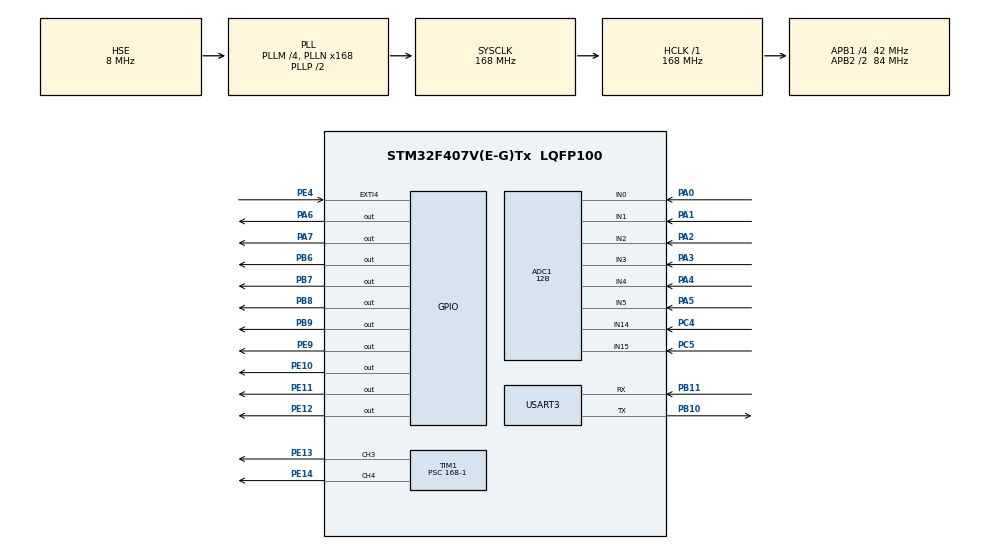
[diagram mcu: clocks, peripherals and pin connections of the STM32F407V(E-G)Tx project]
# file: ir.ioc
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ADC1.Channel-0\#ChannelRegularConversion=ADC_CHANNEL_0
ADC1.Channel-1\#ChannelRegularConversion=ADC_CHANNEL_1
ADC1.Channel-2\#ChannelRegularConversion=ADC_CHANNEL_2
ADC1.Channel-3\#ChannelRegularConversion=ADC_CHANNEL_3
ADC1.Channel-4\#ChannelRegularConversion=ADC_CHANNEL_4
ADC1.Channel-5\#ChannelRegularConversion=ADC_CHANNEL_5
ADC1.Channel-6\#ChannelRegularConversion=ADC_CHANNEL_14
ADC1.Channel-7\#ChannelRegularConversion=ADC_CHANNEL_15
ADC1.ContinuousConvMode=ENABLE
ADC1.DMAContinuousRequests=ENABLE
ADC1.EnableAnalogWatchDog=false
ADC1.InjNumberOfConversion=0
ADC1.NbrOfConversion=8
ADC1.NbrOfConversionFlag=1
ADC1.Rank-0\#ChannelRegularConversion=1
ADC1.Rank-1\#ChannelRegularConversion=2
ADC1.Rank-2\#ChannelRegularConversion=3
ADC1.Rank-3\#ChannelRegularConversion=4
ADC1.Rank-4\#ChannelRegularConversion=5
ADC1.Rank-5\#ChannelRegularConversion=6
ADC1.Rank-6\#ChannelRegularConversion=7
ADC1.Rank-7\#ChannelRegularConversion=8
ADC1.Resolution=ADC_RESOLUTION_12B
ADC1.SamplingTime-0\#ChannelRegularConversion=ADC_SAMPLETIME_84CYCLES
ADC1.SamplingTime-1\#ChannelRegularConversion=ADC_SAMPLETIME_84CYCLES
ADC1.SamplingTime-2\#ChannelRegularConversion=ADC_SAMPLETIME_84CYCLES
ADC1.SamplingTime-3\#ChannelRegularConversion=ADC_SAMPLETIME_84CYCLES
ADC1.SamplingTime-4\#ChannelRegularConversion=ADC_SAMPLETIME_84CYCLES
ADC1.SamplingTime-5\#ChannelRegularConversion=ADC_SAMPLETIME_84CYCLES
ADC1.SamplingTime-6\#ChannelRegularConversion=ADC_SAMPLETIME_84CYCLES
ADC1.SamplingTime-7\#ChannelRegularConversion=ADC_SAMPLETIME_84CYCLES
ADC1.master=1
Dma.ADC1.0.Direction=DMA_PERIPH_TO_MEMORY
Dma.ADC1.0.FIFOMode=DMA_FIFOMODE_DISABLE
Dma.ADC1.0.Instance=DMA2_Stream4
Dma.ADC1.0.MemDataAlignment=DMA_MDATAALIGN_HALFWORD
Dma.ADC1.0.MemInc=DMA_MINC_ENABLE
Dma.ADC1.0.Mode=DMA_CIRCULAR
Dma.ADC1.0.PeriphDataAlignment=DMA_PDATAALIGN_HALFWORD
Dma.ADC1.0.PeriphInc=DMA_PINC_DISABLE
Dma.ADC1.0.Priority=DMA_PRIORITY_LOW
Dma.Request0=ADC1
Mcu.Family=STM32F4
Mcu.Name=STM32F407V(E-G)Tx
Mcu.Package=LQFP100
NVIC.ADC_IRQn=true\:0\:0\:false\:false\:true\:true\:true
NVIC.DMA2_Stream4_IRQn=true\:0\:0\:false\:false\:true\:false\:true
NVIC.EXTI4_IRQn=true\:0\:0\:false\:false\:true\:true\:true
NVIC.PriorityGroup=NVIC_PRIORITYGROUP_4
NVIC.USART3_IRQn=true\:0\:0\:false\:false\:true\:true\:true
PA0-WKUP.Signal=ADCx_IN0
PA1.Signal=ADCx_IN1
PA2.Signal=ADCx_IN2
PA3.Signal=ADCx_IN3
PA4.Signal=ADCx_IN4
PA5.Signal=ADCx_IN5
PA6.Signal=GPIO_Output
PA7.Signal=GPIO_Output
PB10.Mode=Asynchronous
PB10.Signal=USART3_TX
PB11.Mode=Asynchronous
PB11.Signal=USART3_RX
PB6.Signal=GPIO_Output
PB7.Signal=GPIO_Output
PB8.Signal=GPIO_Output
PB9.Signal=GPIO_Output
PC4.Signal=ADCx_IN14
PC5.Signal=ADCx_IN15
PE10.Signal=GPIO_Output
PE11.Signal=GPIO_Output
PE12.Signal=GPIO_Output
PE13.Signal=S_TIM1_CH3
PE14.Signal=S_TIM1_CH4
PE4.Signal=GPXTI4
PE9.Signal=GPIO_Output
PH0-OSC_IN.Mode=HSE-External-Oscillator
PH0-OSC_IN.Signal=RCC_OSC_IN
PH1-OSC_OUT.Mode=HSE-External-Oscillator
PH1-OSC_OUT.Signal=RCC_OSC_OUT
ProjectManager.HeapSize=0x200
ProjectManager.StackSize=0x400
ProjectManager.TargetToolchain=STM32CubeIDE
RCC.48MHZClocksFreq_Value=84000000
RCC.AHBFreq_Value=168000000
RCC.APB1CLKDivider=RCC_HCLK_DIV4
RCC.APB1Freq_Value=42000000
RCC.APB1TimFreq_Value=84000000
RCC.APB2CLKDivider=RCC_HCLK_DIV2
RCC.APB2Freq_Value=84000000
RCC.APB2TimFreq_Value=168000000
RCC.CortexFreq_Value=168000000
RCC.HCLKFreq_Value=168000000
RCC.HSE_VALUE=8000000
RCC.HSI_VALUE=16000000
RCC.LSE_VALUE=32768
RCC.PLLM=4
RCC.PLLN=168
RCC.PLLSourceVirtual=RCC_PLLSOURCE_HSE
RCC.SYSCLKFreq_VALUE=168000000
RCC.SYSCLKSource=RCC_SYSCLKSOURCE_PLLCLK
RCC.VCOOutputFreq_Value=336000000
SH.ADCx_IN0.0=ADC1_IN0,IN0
SH.ADCx_IN1.0=ADC1_IN1,IN1
SH.ADCx_IN14.0=ADC1_IN14,IN14
SH.ADCx_IN15.0=ADC1_IN15,IN15
SH.ADCx_IN2.0=ADC1_IN2,IN2
SH.ADCx_IN3.0=ADC1_IN3,IN3
SH.ADCx_IN4.0=ADC1_IN4,IN4
SH.ADCx_IN5.0=ADC1_IN5,IN5
SH.S_TIM1_CH3.0=TIM1_CH3,PWM Generation3 CH3
SH.S_TIM1_CH4.0=TIM1_CH4,PWM Generation4 CH4
TIM1.Channel-PWM\ Generation3\ CH3=TIM_CHANNEL_3
TIM1.Channel-PWM\ Generation4\ CH4=TIM_CHANNEL_4
TIM1.OCFastMode_PWM-PWM\ Generation3\ CH3=TIM_OCFAST_ENABLE
TIM1.OCFastMode_PWM-PWM\ Generation4\ CH4=TIM_OCFAST_ENABLE
TIM1.Period=10000-1
TIM1.Prescaler=168-1
USART3.VirtualMode=VM_ASYNC
VP_TIM1_VS_ClockSourceINT.Mode=Internal
board=custom

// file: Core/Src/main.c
/* USER CODE BEGIN Header */
/**
  ******************************************************************************
  * @file           : main.c
  * @brief          : Main program body
  ******************************************************************************
  * @attention
  *
  * <h2><center>&copy; Copyright (c) 2021 STMicroelectronics.
  * All rights reserved.</center></h2>
  *
  * This software component is licensed by ST under BSD 3-Clause license,
  * the "License"; You may not use this file except in compliance with the
  * License. You may obtain a copy of the License at:
  *                        opensource.org/licenses/BSD-3-Clause
  *
  ******************************************************************************
  */
/* USER CODE END Header */
#include "main.h"
#include "adc.h"
#include "dma.h"
#include "tim.h"
#include "usart.h"
#include "gpio.h"

/* USER CODE BEGIN Includes */
#include <stdio.h>
/* USER CODE END Includes */

void SystemClock_Config(void);
/* USER CODE BEGIN PFP */
int _write(int file, char* p, int len)
{
	HAL_UART_Transmit(&huart3, p, len, 10);
	return len;
}
/* USER CODE END PFP */

/* USER CODE BEGIN 0 */
#define ADC1_SIZE 8
#define POS_SIZE 8
#define CLEAN_SIZE 10
#define ZERO_SIZE 10

#define vINIT 1000

#define WEIGHT4 350
#define WEIGHT3 250
#define WEIGHT2 150
#define WEIGHT1 50

#define kP1 6
#define kP2 kP1*1.7
#define kI 0
#define kD 5

int INDEX=0;
int reading[CLEAN_SIZE];

uint8_t Position;

uint16_t ADC1Result[ADC1_SIZE-1];
uint16_t ADC1Max[ADC1_SIZE-1];
uint16_t ADC1cMax[ADC1_SIZE-1];

uint16_t ADC1Min[ADC1_SIZE-1];
uint16_t ADC1cMin[ADC1_SIZE-1];

uint16_t ADC1Current[ADC1_SIZE-1];
uint16_t ADC1Norm[ADC1_SIZE-1];

double avg, sum;
int CleanUp(double val, int tries){
	while(tries){
		sum = sum - reading[INDEX];
		reading[INDEX] = val;
		sum = sum + val;
		INDEX = (INDEX+1) % CLEAN_SIZE;

		avg = sum / CLEAN_SIZE;
		tries--;
	}
	return avg;

}
uint32_t pressed=0;
void HAL_GPIO_EXTI_Callback(uint16_t GPIO_Pin){	// K0 Button Active Low (psh 0)
	pressed = !pressed;
	HAL_GPIO_WritePin(GPIOA, GPIO_PIN_6, pressed);
}

/* USER CODE END 0 */

int main(void)
{

  /* MCU Configuration--------------------------------------------------------*/

  /* Reset of all peripherals, Initializes the Flash interface and the Systick. */
  HAL_Init();

  /* Configure the system clock */
  SystemClock_Config();

  /* Initialize all configured peripherals */
  MX_GPIO_Init();
  MX_DMA_Init();
  MX_ADC1_Init();
  MX_TIM1_Init();
  MX_USART3_UART_Init();
  /* USER CODE BEGIN 2 */

  //HAL_ADC_Init(&hadc1);
  HAL_TIM_PWM_Init(&htim1);
  HAL_TIM_PWM_Start(&htim1, TIM_CHANNEL_3);
  HAL_TIM_PWM_Start(&htim1, TIM_CHANNEL_4);

  HAL_GPIO_WritePin(GPIOE, GPIO_PIN_9, GPIO_PIN_RESET);  HAL_GPIO_WritePin(GPIOE, GPIO_PIN_10, GPIO_PIN_SET);
  HAL_GPIO_WritePin(GPIOE, GPIO_PIN_11, GPIO_PIN_RESET); HAL_GPIO_WritePin(GPIOE, GPIO_PIN_12, GPIO_PIN_SET);

  HAL_ADC_Start_DMA(&hadc1, &ADC1Result[0], 8);
  for(int i=0;i<8;i++){ADC1Min[i] = 4095;}

  int32_t Err; 			// Current Error
  int32_t pErr;			// Previous Error
  int32_t ErrDif;		// Error Difference

  int32_t dV1;
  int32_t dV2;
  int32_t weight, wsum;
  int32_t vRight, vLeft;

  uint32_t cTime;
  uint32_t pTime;
  /* USER CODE END 2 */

  /* Infinite loop */
  /* USER CODE BEGIN WHILE */
  while (1){
	for(int i=0;i<8;i++){
		if(ADC1Result[i] >= ADC1Max[i]) ADC1Max[i] = ADC1Result[i];
		if(ADC1Result[i] <= ADC1Min[i] && ADC1Result[i] > 100) ADC1Min[i] = ADC1Result[i];

		ADC1Current[i] = ((ADC1Result[i]-ADC1Min[i]) * 100)/(ADC1Max[i] - ADC1Min[i]); ADC1Norm[i] = ADC1Current[i];
	}

	cTime = HAL_GetTick();
	double delay_Time = (double)(cTime - pTime);

	weight = (ADC1Norm[0]-ADC1Norm[7])*WEIGHT4 + (ADC1Norm[1]-ADC1Norm[6])*WEIGHT3 + (ADC1Norm[2]-ADC1Norm[5])*WEIGHT2 + (ADC1Norm[3]-ADC1Norm[4])*WEIGHT1;
	wsum = (ADC1Norm[0]+ADC1Norm[1]+ADC1Norm[2]+ADC1Norm[3]+ADC1Norm[4]+ADC1Norm[5]+ADC1Norm[6]+ADC1Norm[7]);

	if((ADC1Norm[3]+ADC1Norm[4]) <= 8) // Middle Point
		HAL_GPIO_WritePin(GPIOA, GPIO_PIN_7, 0);
	else
		HAL_GPIO_WritePin(GPIOA, GPIO_PIN_7, 1);

	if(weight<0) Err = -(int)(- weight / wsum);
	else Err =  (int)(weight / wsum);

	ErrDif = (Err - pErr);
	dV1 = kP1 * Err + (kD / delay_Time) * ErrDif ;
	dV2 = kP2 * Err + (kD / delay_Time) * ErrDif ;

	int crMax = 13; // Cross Line Maximum Value
	if(wsum <= crMax*8)
	{
		dV1 = 0; dV2 = 0;
		printf("Cross Line!");
	}

	// if pressed==false, it can not drive out
	vRight = pressed&(vINIT - CleanUp(dV2, CLEAN_SIZE));
	vLeft  = pressed&(vINIT + CleanUp(dV1, CLEAN_SIZE));

	TIM1->CCR3 = vLeft;  // A
	TIM1->CCR4 = vRight; // B

	 	 	 	 	 	 	 	 	 	 	 	 	 	 	 	 	 	 	 	  printf("\n  ");
	 	 	 	 	 	 	 	 	 	 	 	 	 	 	 	 	 	 	 	  pErr = Err;
	 	 	 	 	 	 	 	 	 	 	 	 	 	 	 	 	 	 	 	  pTime = cTime;
	 	 	 	 	 	 	 	 	 	 	 	 	 	 	 	 	 	 	 	  HAL_Delay(10);

    /* USER CODE END WHILE */

  }
}

void SystemClock_Config(void)
{
  RCC_OscInitTypeDef RCC_OscInitStruct = {0};
  RCC_ClkInitTypeDef RCC_ClkInitStruct = {0};

  /** Configure the main internal regulator output voltage
  */
  __HAL_RCC_PWR_CLK_ENABLE();
  __HAL_PWR_VOLTAGESCALING_CONFIG(PWR_REGULATOR_VOLTAGE_SCALE1);
  /** Initializes the RCC Oscillators according to the specified parameters
  * in the RCC_OscInitTypeDef structure.
  */
  RCC_OscInitStruct.OscillatorType = RCC_OSCILLATORTYPE_HSE;
  RCC_OscInitStruct.HSEState = RCC_HSE_ON;
  RCC_OscInitStruct.PLL.PLLState = RCC_PLL_ON;
  RCC_OscInitStruct.PLL.PLLSource = RCC_PLLSOURCE_HSE;
  RCC_OscInitStruct.PLL.PLLM = 4;
  RCC_OscInitStruct.PLL.PLLN = 168;
  RCC_OscInitStruct.PLL.PLLP = RCC_PLLP_DIV2;
  RCC_OscInitStruct.PLL.PLLQ = 4;
  if (HAL_RCC_OscConfig(&RCC_OscInitStruct) != HAL_OK)
  {
    Error_Handler();
  }
  /** Initializes the CPU, AHB and APB buses clocks
  */
  RCC_ClkInitStruct.ClockType = RCC_CLOCKTYPE_HCLK|RCC_CLOCKTYPE_SYSCLK
                              |RCC_CLOCKTYPE_PCLK1|RCC_CLOCKTYPE_PCLK2;
  RCC_ClkInitStruct.SYSCLKSource = RCC_SYSCLKSOURCE_PLLCLK;
  RCC_ClkInitStruct.AHBCLKDivider = RCC_SYSCLK_DIV1;
  RCC_ClkInitStruct.APB1CLKDivider = RCC_HCLK_DIV4;
  RCC_ClkInitStruct.APB2CLKDivider = RCC_HCLK_DIV2;

  if (HAL_RCC_ClockConfig(&RCC_ClkInitStruct, FLASH_LATENCY_5) != HAL_OK)
  {
    Error_Handler();
  }
}

void Error_Handler(void)
{
  __disable_irq();
  while (1)
  {
  }
}

/************************ (C) COPYRIGHT STMicroelectronics *****END OF FILE****/
